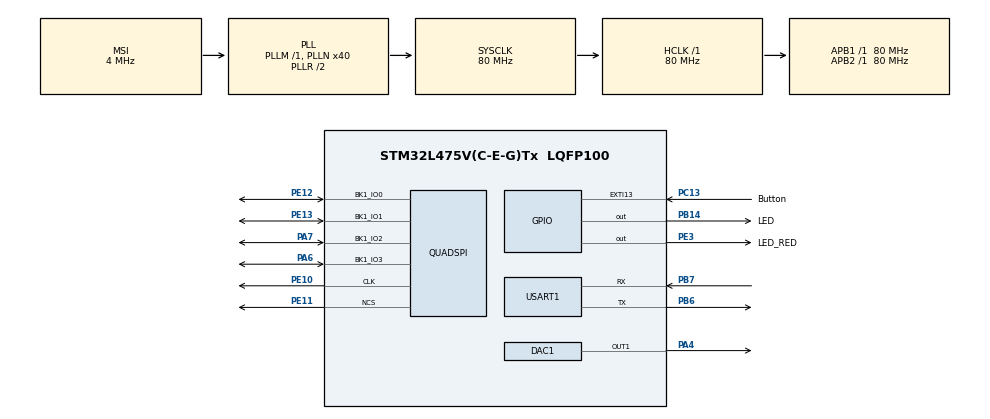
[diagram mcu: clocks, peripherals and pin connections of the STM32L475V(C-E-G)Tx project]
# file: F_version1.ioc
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DAC1.DAC_Trigger-DAC_OUT1=DAC_TRIGGER_T2_TRGO
Dma.DAC_CH1.0.Direction=DMA_MEMORY_TO_PERIPH
Dma.DAC_CH1.0.Instance=DMA1_Channel3
Dma.DAC_CH1.0.MemDataAlignment=DMA_MDATAALIGN_BYTE
Dma.DAC_CH1.0.MemInc=DMA_MINC_ENABLE
Dma.DAC_CH1.0.Mode=DMA_CIRCULAR
Dma.DAC_CH1.0.PeriphDataAlignment=DMA_PDATAALIGN_BYTE
Dma.DAC_CH1.0.PeriphInc=DMA_PINC_DISABLE
Dma.DAC_CH1.0.Priority=DMA_PRIORITY_LOW
Dma.Request0=DAC_CH1
Mcu.Family=STM32L4
Mcu.Name=STM32L475V(C-E-G)Tx
Mcu.Package=LQFP100
NVIC.DMA1_Channel3_IRQn=true\:0\:0\:false\:false\:true\:false\:true
NVIC.PriorityGroup=NVIC_PRIORITYGROUP_4
NVIC.TIM1_TRG_COM_TIM17_IRQn=true\:15\:0\:false\:false\:true\:false\:true
NVIC.TimeBase=TIM1_TRG_COM_TIM17_IRQn
NVIC.TimeBaseIP=TIM17
PA13\ (JTMS-SWDIO).Signal=SYS_JTMS-SWDIO
PA4.Signal=COMP_DAC11_group
PA6.Mode=Single Bank
PA6.Signal=QUADSPI_BK1_IO3
PA7.Mode=Single Bank
PA7.Signal=QUADSPI_BK1_IO2
PB14.GPIO_Label=LED
PB14.Signal=GPIO_Output
PB3\ (JTDO-TRACESWO).Signal=SYS_JTDO-SWO
PB6.Mode=Asynchronous
PB6.Signal=USART1_TX
PB7.Mode=Asynchronous
PB7.Signal=USART1_RX
PC13.GPIO_Label=Button
PC13.Signal=GPXTI13
PE10.Mode=Single Bank
PE10.Signal=QUADSPI_CLK
PE11.Mode=Single Bank
PE11.Signal=QUADSPI_NCS
PE12.Mode=Single Bank
PE12.Signal=QUADSPI_BK1_IO0
PE13.Mode=Single Bank
PE13.Signal=QUADSPI_BK1_IO1
PE3.GPIO_Label=LED_RED
PE3.Signal=GPIO_Output
ProjectManager.HeapSize=0x200
ProjectManager.StackSize=0x400
ProjectManager.TargetToolchain=STM32CubeIDE
RCC.ADCFreq_Value=48000000
RCC.AHBFreq_Value=80000000
RCC.APB1Freq_Value=80000000
RCC.APB1TimFreq_Value=80000000
RCC.APB2Freq_Value=80000000
RCC.APB2TimFreq_Value=80000000
RCC.CortexFreq_Value=80000000
RCC.HCLKFreq_Value=80000000
RCC.HSE_VALUE=8000000
RCC.HSI_VALUE=16000000
RCC.LSE_VALUE=32768
RCC.MSI_VALUE=4000000
RCC.PLLN=40
RCC.PLLSAI1N=24
RCC.SYSCLKFreq_VALUE=80000000
RCC.SYSCLKSource=RCC_SYSCLKSOURCE_PLLCLK
RCC.USBFreq_Value=48000000
RCC.VCOOutputFreq_Value=160000000
SH.COMP_DAC11_group.0=DAC1_OUT1,DAC_OUT1
TIM2.Period=1814
TIM2.TIM_MasterOutputTrigger=TIM_TRGO_UPDATE
USART1.VirtualMode-Asynchronous=VM_ASYNC
VP_SYS_VS_tim17.Mode=TIM17
VP_TIM2_VS_ClockSourceINT.Mode=Internal
board=B-L475E-IOT01A1

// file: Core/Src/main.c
/* USER CODE BEGIN Header */
/**
  ******************************************************************************
  * @file           : main.c
  * @brief          : Main program body
  ******************************************************************************
  * @attention
  *
  * <h2><center>&copy; Copyright (c) 2020 STMicroelectronics.
  * All rights reserved.</center></h2>
  *
  * This software component is licensed by ST under BSD 3-Clause license,
  * the "License"; You may not use this file except in compliance with the
  * License. You may obtain a copy of the License at:
  *                        opensource.org/licenses/BSD-3-Clause
  *
  ******************************************************************************
  */
/* USER CODE END Header */
#include "main.h"

/* USER CODE BEGIN Includes */
#define ARM_MATH_CM4
#include "arm_math.h"
#include "stm32l475e_iot01_qspi.h"

/* USER CODE END Includes */

DAC_HandleTypeDef hdac1;
DMA_HandleTypeDef hdma_dac_ch1;

QSPI_HandleTypeDef hqspi;

TIM_HandleTypeDef htim2;

UART_HandleTypeDef huart1;

void SystemClock_Config(void);
static void MX_GPIO_Init(void);
static void MX_DMA_Init(void);
static void MX_DAC1_Init(void);
static void MX_QUADSPI_Init(void);
static void MX_TIM2_Init(void);
static void MX_USART1_UART_Init(void);

/* USER CODE BEGIN 0 */

//The timer frequency is 44.1 kHz,
#define pi 3.14159265
	uint8_t play[22050] = {0};

	uint8_t empty[22050] = {0};

	uint8_t counter = 0;
    int isDelaying = 0;
    int LED_status2 = 0;
    int score = 0;
    int welcome = 0;
    char buffer[100] = {0};
	char tBuff[20];

//Tone 1 C6 1046.5 Hz
	uint8_t C6[42];
void get_C6(){
	for(int i = 0; i < 42; i++){
		C6[i] =  0.33*(1 + arm_sin_f32(2*pi*i/42))*256;
	}
}

//Tone 2 E6 1318.5 Hz
	uint8_t E6[34];
void get_E6(){
	for(int i = 0; i < 34; i++){
		E6[i] =  0.33*(1 + arm_sin_f32(2*pi*i/34))*256;
	}
}

//Tone 3 G6 1568.0 Hz
	uint8_t G6[28];
void get_G6(){
	for(int i = 0; i < 28; i++){
		G6[i] =  0.33*(1 + arm_sin_f32(2*pi*i/28))*256;
	}
}

//Tone 4 A6 1760.0 Hz

	uint8_t A6[25];
void get_A6(){
	for(int i = 0; i < 25; i++){
		A6[i] =  0.33*(1 + arm_sin_f32(2*pi*i/25))*256;
	}
}

//Tone 5 B6 1975.53 Hz
	uint8_t B6[22];
void get_B6(){
	for(int i = 0; i < 22; i++){
		B6[i] =  0.33*(1 + arm_sin_f32(2*pi*i/22))*256;
	}
}

//Tone 6 B5 987.78 Hz
	uint8_t B5[45];
void get_B5(){
	for(int i = 0; i < 45; i++){
		B5[i] =  0.33*(1 + arm_sin_f32(2*pi*i/45))*256;
	}
}

void printWelcome(){
	  sprintf(buffer, "       Welcome to our game! \r \n");
	  HAL_UART_Transmit(&huart1, (uint8_t *) buffer, (uint16_t) strlen(buffer), 30000);
	  memset(buffer, 0, strlen(buffer));

	  sprintf(buffer, "------------------------------ \r \n");
	  HAL_UART_Transmit(&huart1, (uint8_t *) buffer, (uint16_t) strlen(buffer), 30000);
	  memset(buffer, 0, strlen(buffer));

	  sprintf(buffer, "|                             | \r \n");
	  HAL_UART_Transmit(&huart1, (uint8_t *) buffer, (uint16_t) strlen(buffer), 30000);
	  memset(buffer, 0, strlen(buffer));

	  sprintf(buffer, "|                             | \r \n");
	  HAL_UART_Transmit(&huart1, (uint8_t *) buffer, (uint16_t) strlen(buffer), 30000);
	  memset(buffer, 0, strlen(buffer));

	  sprintf(buffer, "|                             | \r \n");
	  HAL_UART_Transmit(&huart1, (uint8_t *) buffer, (uint16_t) strlen(buffer), 30000);
	  memset(buffer, 0, strlen(buffer));

	  sprintf(buffer, "|                             | \r \n");
	  HAL_UART_Transmit(&huart1, (uint8_t *) buffer, (uint16_t) strlen(buffer), 30000);
	  memset(buffer, 0, strlen(buffer));

	  sprintf(buffer, "------------------------------ \r \n");
	  HAL_UART_Transmit(&huart1, (uint8_t *) buffer, (uint16_t) strlen(buffer), 30000);
	  memset(buffer, 0, strlen(buffer));
}

/* USER CODE END 0 */

int main(void)
{

  /* MCU Configuration--------------------------------------------------------*/

  /* Reset of all peripherals, Initializes the Flash interface and the Systick. */
  HAL_Init();

  /* Configure the system clock */
  SystemClock_Config();

  /* Initialize all configured peripherals */
  MX_GPIO_Init();
  MX_DMA_Init();
  MX_DAC1_Init();
  MX_QUADSPI_Init();
  MX_TIM2_Init();
  MX_USART1_UART_Init();
  /* USER CODE BEGIN 2 */
  BSP_QSPI_Init();
  HAL_TIM_Base_Start_IT(&htim2);

  get_B5();
  get_C6();
  get_E6();
  get_G6();
  get_A6();
  get_B6();
  uint32_t addr = 0x000000;

  for(int i = 0; i < 3; i++){
	  if(BSP_QSPI_Erase_Block(addr + i * 0x010000) != QSPI_OK){
		  Error_Handler();
	  }
  }

  uint32_t tone_addr = 0x000000;
  for(int i = 0; i < 490; i++){
	  if(BSP_QSPI_Write((uint8_t *)B5, tone_addr, 45) != QSPI_OK){
		  Error_Handler();
	  }
	  tone_addr += 45;
  }
  for(int i = 0; i < 525; i++){
	  if(BSP_QSPI_Write((uint8_t *)C6, tone_addr, 42) != QSPI_OK){
		  Error_Handler();
	  }
	  tone_addr += 42;
  }
  for(int i = 0; i < 648; i++){
	  if(BSP_QSPI_Write((uint8_t *)E6, tone_addr, 34) != QSPI_OK){
		  Error_Handler();
	  }
	  tone_addr += 34;
  }
  tone_addr = 0x010266;
  for(int i = 0; i < 787; i++){
	  if(BSP_QSPI_Write((uint8_t *)G6, tone_addr, 28) != QSPI_OK){
		  Error_Handler();
	  }
	  tone_addr += 28;
  }
  tone_addr = 0x015888;
  for(int i = 0; i < 882; i++){
	  if(BSP_QSPI_Write((uint8_t *)A6, tone_addr, 25) != QSPI_OK){
		  Error_Handler();
	  }
	  tone_addr += 25;
  }
  for(int i = 0; i < 1002; i++){
	  if(BSP_QSPI_Write((uint8_t *)B6, tone_addr, 22) != QSPI_OK){
		  Error_Handler();
	  }
	  tone_addr += 22;
  }

  //Read the data
  if(BSP_QSPI_Read((uint8_t *)play, 0x00000000, 22050) != QSPI_OK){
	  Error_Handler();
  }

  HAL_DAC_Start_DMA(&hdac1, DAC_CHANNEL_1, play, 22050, DAC_ALIGN_8B_R);
  /* USER CODE END 2 */

  /* Infinite loop */
  while (1)
  {

    /* USER CODE BEGIN 3 */

	  int GPIO_PinState = 0;//When you press the button, status is 0
	  GPIO_PinState =  HAL_GPIO_ReadPin (Button_GPIO_Port, Button_Pin);
	  if(GPIO_PinState==1){
		  //HAL_GPIO_WritePin(LED_RED_GPIO_Port, LED_RED_Pin, GPIO_PIN_RESET);
	  }
	  else
	  {

		  if(HAL_GPIO_ReadPin (LED_GPIO_Port, LED_Pin)){
			  HAL_GPIO_WritePin(LED_RED_GPIO_Port, LED_RED_Pin, GPIO_PIN_RESET);
			  if(BSP_QSPI_Read((uint8_t *)play, 0x01AEAA, 22050) != QSPI_OK){
			  			  Error_Handler();
			  		  }
			  HAL_DAC_Start_DMA(&hdac1, DAC_CHANNEL_1, play, 22050, DAC_ALIGN_8B_R);
			  HAL_GPIO_WritePin(LED_GPIO_Port, LED_Pin, GPIO_PIN_RESET);
			  LED_status2 = (LED_status2 + 1) % 2;
			  if(welcome==0){
				  welcome = 1;
				  printWelcome();
			  }
			  sprintf(tBuff, "Hit+1!  score:  %d \r", ++score);
			  memset(buffer, 0, strlen(buffer));
			  strcat(buffer, tBuff);
			  memset(tBuff, 0, strlen(tBuff));
			  HAL_UART_Transmit(&huart1, (uint8_t *) buffer, (uint16_t) strlen(buffer), 30000);
			  isDelaying = 1;
			  HAL_Delay(500);
			  isDelaying = 0;
			  HAL_GPIO_WritePin(LED_RED_GPIO_Port, LED_RED_Pin, GPIO_PIN_SET);
			  if(BSP_QSPI_Read((uint8_t *)play, 0x02AEAA, 22050) != QSPI_OK){
			  					  Error_Handler();
			  		}
			  HAL_DAC_Start_DMA(&hdac1, DAC_CHANNEL_1, empty, 22050, DAC_ALIGN_8B_R);
		  }else{
			 /*if(score > 0) score--;
			 sprintf(tBuff, "Missed! score:  %d \r", score);
			 memset(buffer, 0, strlen(buffer));
			 strcat(buffer, tBuff);
			 HAL_UART_Transmit(&huart1, (uint8_t *) buffer, (uint16_t) strlen(buffer), 30000);*/
		  }

	  }

  }
  /* USER CODE END 3 */
}

void SystemClock_Config(void)
{
  RCC_OscInitTypeDef RCC_OscInitStruct = {0};
  RCC_ClkInitTypeDef RCC_ClkInitStruct = {0};

  /** Configure the main internal regulator output voltage
  */
  if (HAL_PWREx_ControlVoltageScaling(PWR_REGULATOR_VOLTAGE_SCALE1) != HAL_OK)
  {
    Error_Handler();
  }
  /** Initializes the RCC Oscillators according to the specified parameters
  * in the RCC_OscInitTypeDef structure.
  */
  RCC_OscInitStruct.OscillatorType = RCC_OSCILLATORTYPE_MSI;
  RCC_OscInitStruct.MSIState = RCC_MSI_ON;
  RCC_OscInitStruct.MSICalibrationValue = 0;
  RCC_OscInitStruct.MSIClockRange = RCC_MSIRANGE_6;
  RCC_OscInitStruct.PLL.PLLState = RCC_PLL_ON;
  RCC_OscInitStruct.PLL.PLLSource = RCC_PLLSOURCE_MSI;
  RCC_OscInitStruct.PLL.PLLM = 1;
  RCC_OscInitStruct.PLL.PLLN = 40;
  RCC_OscInitStruct.PLL.PLLP = RCC_PLLP_DIV7;
  RCC_OscInitStruct.PLL.PLLQ = RCC_PLLQ_DIV2;
  RCC_OscInitStruct.PLL.PLLR = RCC_PLLR_DIV2;
  if (HAL_RCC_OscConfig(&RCC_OscInitStruct) != HAL_OK)
  {
    Error_Handler();
  }
  /** Initializes the CPU, AHB and APB buses clocks
  */
  RCC_ClkInitStruct.ClockType = RCC_CLOCKTYPE_HCLK|RCC_CLOCKTYPE_SYSCLK
                              |RCC_CLOCKTYPE_PCLK1|RCC_CLOCKTYPE_PCLK2;
  RCC_ClkInitStruct.SYSCLKSource = RCC_SYSCLKSOURCE_PLLCLK;
  RCC_ClkInitStruct.AHBCLKDivider = RCC_SYSCLK_DIV1;
  RCC_ClkInitStruct.APB1CLKDivider = RCC_HCLK_DIV1;
  RCC_ClkInitStruct.APB2CLKDivider = RCC_HCLK_DIV1;

  if (HAL_RCC_ClockConfig(&RCC_ClkInitStruct, FLASH_LATENCY_4) != HAL_OK)
  {
    Error_Handler();
  }
}

static void MX_DAC1_Init(void)
{

  DAC_ChannelConfTypeDef sConfig = {0};

  /** DAC Initialization
  */
  hdac1.Instance = DAC1;
  if (HAL_DAC_Init(&hdac1) != HAL_OK)
  {
    Error_Handler();
  }
  /** DAC channel OUT1 config
  */
  sConfig.DAC_SampleAndHold = DAC_SAMPLEANDHOLD_DISABLE;
  sConfig.DAC_Trigger = DAC_TRIGGER_T2_TRGO;
  sConfig.DAC_OutputBuffer = DAC_OUTPUTBUFFER_ENABLE;
  sConfig.DAC_ConnectOnChipPeripheral = DAC_CHIPCONNECT_DISABLE;
  sConfig.DAC_UserTrimming = DAC_TRIMMING_FACTORY;
  if (HAL_DAC_ConfigChannel(&hdac1, &sConfig, DAC_CHANNEL_1) != HAL_OK)
  {
    Error_Handler();
  }

}

static void MX_QUADSPI_Init(void)
{

  /* QUADSPI parameter configuration*/
  hqspi.Instance = QUADSPI;
  hqspi.Init.ClockPrescaler = 255;
  hqspi.Init.FifoThreshold = 1;
  hqspi.Init.SampleShifting = QSPI_SAMPLE_SHIFTING_NONE;
  hqspi.Init.FlashSize = 1;
  hqspi.Init.ChipSelectHighTime = QSPI_CS_HIGH_TIME_1_CYCLE;
  hqspi.Init.ClockMode = QSPI_CLOCK_MODE_0;
  if (HAL_QSPI_Init(&hqspi) != HAL_OK)
  {
    Error_Handler();
  }

}

static void MX_TIM2_Init(void)
{

  TIM_ClockConfigTypeDef sClockSourceConfig = {0};
  TIM_MasterConfigTypeDef sMasterConfig = {0};

  htim2.Instance = TIM2;
  htim2.Init.Prescaler = 0;
  htim2.Init.CounterMode = TIM_COUNTERMODE_UP;
  htim2.Init.Period = 1814;
  htim2.Init.ClockDivision = TIM_CLOCKDIVISION_DIV1;
  htim2.Init.AutoReloadPreload = TIM_AUTORELOAD_PRELOAD_DISABLE;
  if (HAL_TIM_Base_Init(&htim2) != HAL_OK)
  {
    Error_Handler();
  }
  sClockSourceConfig.ClockSource = TIM_CLOCKSOURCE_INTERNAL;
  if (HAL_TIM_ConfigClockSource(&htim2, &sClockSourceConfig) != HAL_OK)
  {
    Error_Handler();
  }
  sMasterConfig.MasterOutputTrigger = TIM_TRGO_UPDATE;
  sMasterConfig.MasterSlaveMode = TIM_MASTERSLAVEMODE_DISABLE;
  if (HAL_TIMEx_MasterConfigSynchronization(&htim2, &sMasterConfig) != HAL_OK)
  {
    Error_Handler();
  }

}

static void MX_USART1_UART_Init(void)
{

  huart1.Instance = USART1;
  huart1.Init.BaudRate = 115200;
  huart1.Init.WordLength = UART_WORDLENGTH_8B;
  huart1.Init.StopBits = UART_STOPBITS_1;
  huart1.Init.Parity = UART_PARITY_NONE;
  huart1.Init.Mode = UART_MODE_TX_RX;
  huart1.Init.HwFlowCtl = UART_HWCONTROL_NONE;
  huart1.Init.OverSampling = UART_OVERSAMPLING_16;
  huart1.Init.OneBitSampling = UART_ONE_BIT_SAMPLE_DISABLE;
  huart1.AdvancedInit.AdvFeatureInit = UART_ADVFEATURE_NO_INIT;
  if (HAL_UART_Init(&huart1) != HAL_OK)
  {
    Error_Handler();
  }

}

static void MX_DMA_Init(void)
{

  /* DMA controller clock enable */
  __HAL_RCC_DMA1_CLK_ENABLE();

  /* DMA interrupt init */
  /* DMA1_Channel3_IRQn interrupt configuration */
  HAL_NVIC_SetPriority(DMA1_Channel3_IRQn, 0, 0);
  HAL_NVIC_EnableIRQ(DMA1_Channel3_IRQn);

}

static void MX_GPIO_Init(void)
{
  GPIO_InitTypeDef GPIO_InitStruct = {0};

  /* GPIO Ports Clock Enable */
  __HAL_RCC_GPIOE_CLK_ENABLE();
  __HAL_RCC_GPIOC_CLK_ENABLE();
  __HAL_RCC_GPIOA_CLK_ENABLE();
  __HAL_RCC_GPIOB_CLK_ENABLE();

  /*Configure GPIO pin Output Level */
  HAL_GPIO_WritePin(LED_RED_GPIO_Port, LED_RED_Pin, GPIO_PIN_RESET);

  /*Configure GPIO pin Output Level */
  HAL_GPIO_WritePin(LED_GPIO_Port, LED_Pin, GPIO_PIN_RESET);

  /*Configure GPIO pin : LED_RED_Pin */
  GPIO_InitStruct.Pin = LED_RED_Pin;
  GPIO_InitStruct.Mode = GPIO_MODE_OUTPUT_PP;
  GPIO_InitStruct.Pull = GPIO_NOPULL;
  GPIO_InitStruct.Speed = GPIO_SPEED_FREQ_LOW;
  HAL_GPIO_Init(LED_RED_GPIO_Port, &GPIO_InitStruct);

  /*Configure GPIO pin : Button_Pin */
  GPIO_InitStruct.Pin = Button_Pin;
  GPIO_InitStruct.Mode = GPIO_MODE_IT_RISING;
  GPIO_InitStruct.Pull = GPIO_NOPULL;
  HAL_GPIO_Init(Button_GPIO_Port, &GPIO_InitStruct);

  /*Configure GPIO pin : LED_Pin */
  GPIO_InitStruct.Pin = LED_Pin;
  GPIO_InitStruct.Mode = GPIO_MODE_OUTPUT_PP;
  GPIO_InitStruct.Pull = GPIO_NOPULL;
  GPIO_InitStruct.Speed = GPIO_SPEED_FREQ_LOW;
  HAL_GPIO_Init(LED_GPIO_Port, &GPIO_InitStruct);

}

/* USER CODE BEGIN 4 */
int lower = 1;
int upper = 3;
int DAC_status = 0;
void HAL_DAC_ConvCpltCallbackCh1 (DAC_HandleTypeDef * hdac){
	if(isDelaying == 1) return;
	if(DAC_status == 1){
		if(BSP_QSPI_Read((uint8_t *)play, 0x02AEAA, 22050) != QSPI_OK){
					  Error_Handler();
		}
		HAL_DAC_Start_DMA(&hdac1, DAC_CHANNEL_1, empty, 22050, DAC_ALIGN_8B_R);
		DAC_status = 0;
	}
	int randomnumber = (rand() % (upper - lower + 1)) + lower;
	if(randomnumber%3 == 0){
		LED_status2 = (LED_status2 + 1) % 2;
		HAL_GPIO_TogglePin(LED_GPIO_Port, LED_Pin);
		if(LED_status2){
			DAC_status = 1;
			if(BSP_QSPI_Read((uint8_t *)play, 0x000000, 22050) != QSPI_OK){
								  Error_Handler();
			}
			HAL_DAC_Start_DMA(&hdac1, DAC_CHANNEL_1, play, 22050, DAC_ALIGN_8B_R);
		}

	}

	/*if(counter == 0){
		if(BSP_QSPI_Read((uint8_t *)play, 0x000000, 22050) != QSPI_OK){
			  Error_Handler();
		  }
		HAL_DAC_Start_DMA(&hdac1, DAC_CHANNEL_1, play, 22050, DAC_ALIGN_8B_R);
	}
	if(counter == 1){
		if(BSP_QSPI_Read((uint8_t *)play, 0x005622, 22050) != QSPI_OK){
			  Error_Handler();
		  }
		HAL_DAC_Start_DMA(&hdac1, DAC_CHANNEL_1, play, 22050, DAC_ALIGN_8B_R);
	}
	if(counter == 2){
		if(BSP_QSPI_Read((uint8_t *)play, 0x00AC44, 22050) != QSPI_OK){
			  Error_Handler();
		  }
		HAL_DAC_Start_DMA(&hdac1, DAC_CHANNEL_1, play, 22050, DAC_ALIGN_8B_R);
	}
	if(counter == 3){
		if(BSP_QSPI_Read((uint8_t *)play, 0x010266, 22050) != QSPI_OK){
			  Error_Handler();
		  }
		HAL_DAC_Start_DMA(&hdac1, DAC_CHANNEL_1, play, 22050, DAC_ALIGN_8B_R);
	}
	if(counter == 4){
		if(BSP_QSPI_Read((uint8_t *)play, 0x015888, 22050) != QSPI_OK){
			  Error_Handler();
		  }
		HAL_DAC_Start_DMA(&hdac1, DAC_CHANNEL_1, play, 22050, DAC_ALIGN_8B_R);
	}
	if(counter == 5){
		if(BSP_QSPI_Read((uint8_t *)play, 0x01AEAA, 22050) != QSPI_OK){
			  Error_Handler();
		  }
		HAL_DAC_Start_DMA(&hdac1, DAC_CHANNEL_1, play, 22050, DAC_ALIGN_8B_R);
		counter=0;
	}
	counter++;*/
}

/* USER CODE END 4 */

void HAL_TIM_PeriodElapsedCallback(TIM_HandleTypeDef *htim)
{
  if (htim->Instance == TIM17) {
    HAL_IncTick();
  }
}

void Error_Handler(void)
{
  /* USER CODE BEGIN Error_Handler_Debug */
  /* User can add his own implementation to report the HAL error return state */
	__BKPT();

  /* USER CODE END Error_Handler_Debug */
}

/************************ (C) COPYRIGHT STMicroelectronics *****END OF FILE****/
